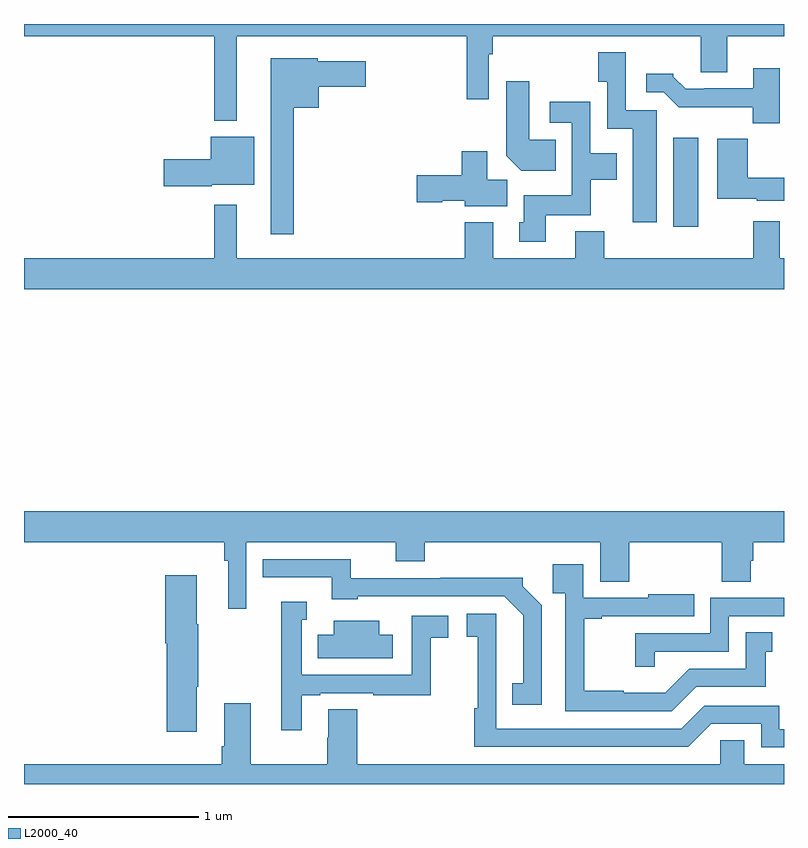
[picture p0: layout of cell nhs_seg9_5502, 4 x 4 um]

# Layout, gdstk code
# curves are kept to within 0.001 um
import gdstk
lib = gdstk.Library(unit=1e-6, precision=1e-09)
def R(c, l, rs):  # rectangles x0, y0, x1, y1
    for r in rs: c.add(gdstk.rectangle(r[:2], r[2:], *l))
def P(c, l, *ps):  # polygons
    for p in ps: c.add(gdstk.Polygon(p, *l))
L2000_40 = (2000, 40)

nhs_seg9_5502 = lib.new_cell('nhs_seg9_5502')
R(nhs_seg9_5502, L2000_40, [(434.417,1179.432,434.548,1179.901)])
P(nhs_seg9_5502, L2000_40, [(432.121,1180.436),(433.33,1180.436),(433.33,1180.104),(433.446,1180.104),(433.446,1180.34),(433.466,1180.34),(433.466,1180.436),(434.561,1180.436),(434.561,1180.246),(434.701,1180.246),(434.701,1180.436),(435,1180.436),(435,1180.5),(431,1180.5),(431,1180.436),(432,1180.436),(432,1179.992),(432.121,1179.992)],
  [(434.329,1180.047),(434.166,1180.047),(434.166,1180.351),(434.023,1180.351),(434.023,1180.195),(434.07,1180.195),(434.07,1179.95),(434.204,1179.95),(434.204,1179.456),(434.329,1179.456)],
  [(432.421,1180.058),(432.55,1180.058),(432.55,1180.169),(432.799,1180.169),(432.799,1180.303),(432.546,1180.303),(432.546,1180.321),(432.299,1180.321),(432.299,1179.393),(432.421,1179.393)],
  [(434.977,1180.267),(434.837,1180.267),(434.837,1180.161),(434.581,1180.161),(434.581,1180.158),(434.482,1180.158),(434.418,1180.222),(434.418,1180.237),(434.274,1180.237),(434.274,1180.14),(434.367,1180.14),(434.446,1180.062),(434.835,1180.062),(434.835,1179.977),(434.977,1179.977)],
  [(433.799,1179.892),(433.66,1179.892),(433.66,1180.198),(433.538,1180.198),(433.538,1179.806),(433.616,1179.728),(433.799,1179.728)],
  [(433.747,1179.494),(433.983,1179.494),(433.983,1179.68),(434.119,1179.68),(434.119,1179.82),(433.98,1179.82),(433.98,1180.09),(433.767,1180.09),(433.767,1179.981),(433.884,1179.981),(433.884,1179.598),(433.631,1179.598),(433.631,1179.456),(433.607,1179.456),(433.607,1179.354),(433.747,1179.354)],
  [(431.988,1179.653),(432.211,1179.653),(432.211,1179.907),(431.984,1179.907),(431.984,1179.788),(431.736,1179.788),(431.736,1179.646),(431.988,1179.646)],
  [(435,1179.691),(434.81,1179.691),(434.81,1179.895),(434.648,1179.895),(434.648,1179.581),(434.856,1179.581),(434.856,1179.569),(435,1179.569)],
  [(433.543,1179.68),(433.438,1179.68),(433.438,1179.829),(433.304,1179.829),(433.304,1179.704),(433.068,1179.704),(433.068,1179.562),(433.2,1179.562),(433.2,1179.569),(433.32,1179.569),(433.32,1179.542),(433.543,1179.542)],
  [(435,1179.268),(434.977,1179.268),(434.977,1179.463),(434.837,1179.463),(434.837,1179.268),(434.054,1179.268),(434.054,1179.409),(433.901,1179.409),(433.901,1179.268),(433.471,1179.268),(433.471,1179.457),(433.319,1179.457),(433.319,1179.268),(432.121,1179.268),(432.121,1179.55),(432,1179.55),(432,1179.268),(431,1179.268),(431,1179.104),(435,1179.104)],
  [(432.171,1177.772),(432.956,1177.772),(432.956,1177.673),(433.109,1177.673),(433.109,1177.772),(434.033,1177.772),(434.033,1177.564),(434.186,1177.564),(434.186,1177.772),(434.672,1177.772),(434.672,1177.564),(434.824,1177.564),(434.824,1177.674),(434.837,1177.674),(434.837,1177.772),(435,1177.772),(435,1177.936),(431,1177.936),(431,1177.772),(432.055,1177.772),(432.055,1177.676),(432.074,1177.676),(432.074,1177.422),(432.171,1177.422)],
  [(433.725,1177.442),(433.626,1177.541),(433.626,1177.586),(433.192,1177.586),(433.192,1177.584),(432.72,1177.584),(432.72,1177.683),(432.256,1177.683),(432.256,1177.587),(432.62,1177.587),(432.62,1177.472),(432.756,1177.472),(432.756,1177.488),(433.527,1177.488),(433.628,1177.387),(433.628,1177.031),(433.57,1177.031),(433.57,1176.918),(433.725,1176.918)],
  [(434.538,1177.011),(434.905,1177.011),(434.905,1177.195),(434.938,1177.195),(434.938,1177.298),(434.798,1177.298),(434.798,1177.107),(434.502,1177.107),(434.374,1176.979),(434.156,1176.979),(434.156,1176.991),(433.949,1176.991),(433.949,1177.371),(434.041,1177.371),(434.041,1177.383),(434.528,1177.383),(434.528,1177.498),(434.285,1177.498),(434.285,1177.479),(433.944,1177.479),(433.944,1177.657),(433.783,1177.657),(433.783,1177.505),(433.848,1177.505),(433.848,1176.882),(434.409,1176.882)],
  [(431.908,1177.012),(431.916,1177.012),(431.916,1177.342),(431.908,1177.342),(431.908,1177.6),(431.744,1177.6),(431.744,1177.242),(431.75,1177.242),(431.75,1176.774),(431.908,1176.774)],
  [(434.319,1177.197),(434.709,1177.197),(434.709,1177.383),(435,1177.383),(435,1177.479),(434.613,1177.479),(434.613,1177.293),(434.218,1177.293),(434.218,1177.116),(434.319,1177.116)],
  [(432.463,1176.966),(432.559,1176.966),(432.559,1176.978),(432.838,1176.978),(432.838,1176.966),(433.14,1176.966),(433.14,1177.27),(433.234,1177.27),(433.234,1177.386),(433.041,1177.386),(433.041,1177.074),(432.462,1177.074),(432.462,1177.365),(432.487,1177.365),(432.487,1177.459),(432.354,1177.459),(432.354,1177.027),(432.353,1177.027),(432.353,1176.783),(432.463,1176.783)],
  [(435,1176.789),(434.976,1176.789),(434.976,1176.912),(434.58,1176.912),(434.46,1176.792),(433.485,1176.792),(433.486,1177.396),(433.329,1177.396),(433.329,1177.275),(433.387,1177.275),(433.387,1176.899),(433.369,1176.899),(433.369,1176.696),(434.496,1176.696),(434.616,1176.816),(434.88,1176.816),(434.88,1176.693),(435,1176.693)],
  [(432.94,1177.285),(432.871,1177.285),(432.871,1177.36),(432.629,1177.36),(432.629,1177.285),(432.547,1177.285),(432.547,1177.163),(432.94,1177.163)],
  [(435,1176.604),(434.791,1176.604),(434.791,1176.731),(434.664,1176.731),(434.664,1176.604),(432.755,1176.604),(432.755,1176.893),(432.602,1176.893),(432.602,1176.743),(432.595,1176.743),(432.595,1176.604),(432.193,1176.604),(432.193,1176.925),(432.053,1176.925),(432.053,1176.7),(432.041,1176.7),(432.041,1176.604),(431,1176.604),(431,1176.5),(435,1176.5)])

lib.write_gds('nhs_seg9_5502.gds')
